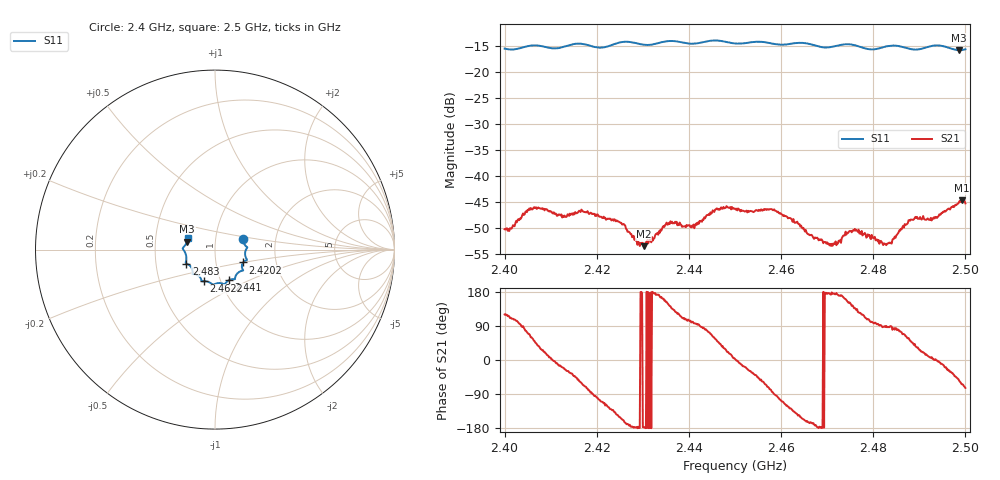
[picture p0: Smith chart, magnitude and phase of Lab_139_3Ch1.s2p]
# Hz S RI R
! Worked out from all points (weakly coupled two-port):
!   601 points, 2.4 GHz to 2.5 GHz, reference 50 ohm
!   highest |S21| = -44.68 dB at 2.4992 GHz (marker M1); lowest = -53.5 dB at 2.4302 GHz (marker M2)
!   lowest |S11| = -15.8 dB at 2.4987 GHz (marker M3), VSWR 1.39, Z = 36.4 + j3.29 ohm
!   |S11| at or under -10 dB: start of sweep to end of sweep
!   S12 and S22 are empty: the file has one direction only
!   S11 on the Smith chart (normalised r, x): 2.4 GHz: 1.36, +0.17; 2.4202 GHz: 1.35, -0.20; 2.441 GHz: 1.10, -0.39; 2.4622 GHz: 0.83, -0.30; 2.483 GHz: 0.72, -0.12; 2.5 GHz: 0.73, +0.09
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2.4e9  0.1566 0.0603  -0.00154 0.00266  0 0  0 0
2.406167e9  0.1796 0.0133  0.00275 0.00398  0 0  0 0
2.416667e9  0.1775 -0.0581  0.00234 -0.00413  0 0  0 0
2.420167e9  0.1564 -0.0717  -0.000731 -0.00421  0 0  0 0
2.425667e9  0.1568 -0.1151  -0.00319 -0.00128  0 0  0 0
2.430167e9  0.1329 -0.1259  -0.00211 -9.41e-05  0 0  0 0
2.433333e9  0.113 -0.1521  -0.0027 0.000353  0 0  0 0
2.436167e9  0.1104 -0.165  -0.00261 0.00237  0 0  0 0
2.441e9  0.0771 -0.1704  -0.000435 0.00338  0 0  0 0
2.445667e9  0.0527 -0.194  0.00265 0.00393  0 0  0 0
2.45e9  0.0266 -0.1863  0.00485 0.000232  0 0  0 0
2.462167e9  -0.0628 -0.1762  -0.00241 -0.00303  0 0  0 0
2.466667e9  -0.0764 -0.167  -0.00263 -0.000632  0 0  0 0
2.471e9  -0.106 -0.1383  -0.00222 6.95e-05  0 0  0 0
2.476333e9  -0.1253 -0.1283  -0.00203 0.00224  0 0  0 0
2.483e9  -0.1589 -0.0778  0.000139 0.00223  0 0  0 0
2.483333e9  -0.1603 -0.077  0.000129 0.00226  0 0  0 0
2.488167e9  -0.1594 -0.0464  0.00248 0.00289  0 0  0 0
2.493167e9  -0.1794 0.0039  0.004 2.04e-05  0 0  0 0
2.498667e9  -0.1559 0.0441  0.00327 -0.00465  0 0  0 0
2.499167e9  -0.1542 0.0514  0.00258 -0.00523  0 0  0 0
2.5e9  -0.1529 0.0627  0.00152 -0.00523  0 0  0 0
